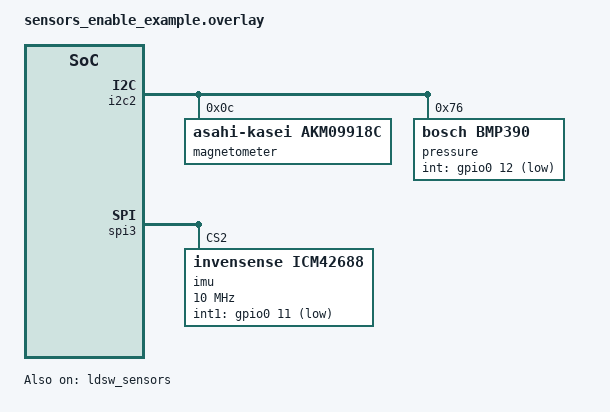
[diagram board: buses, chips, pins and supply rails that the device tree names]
/*
 * Example overlay to add sensors to Kestrel nRF9151 board
 * 
 * This file shows how to add sensor definitions when you have drivers available.
 * Hardware connections:
 * - AK09918C magnetometer: I2C address 0x0c, no interrupt
 * - BMP390 pressure sensor: I2C address 0x76, interrupt on GPIO0.12
 * - ICM-42688-P IMU: SPI reg=<2>, CS on GPIO0.22, interrupt on GPIO0.11
 *
 * Usage: Copy to your app directory and build with:
 *   west build -b kestrel/nrf9151/ns -- -DDTC_OVERLAY_FILE=sensors_enable_example.overlay
 */

/* Add I2C sensors to I2C2 bus */
&i2c2 {
    magnetometer: ak09918c@0c {
        compatible = "asahi-kasei,akm09918c";
        reg = <0x0c>;
        status = "okay";
    };

    pressure: bmp390@76 {
        compatible = "bosch,bmp390";
        reg = <0x76>;
        status = "okay";
        int-gpios = <&gpio0 12 GPIO_ACTIVE_LOW>;
    };
};

/* Add SPI sensor to SPI3 bus */
&spi3 {
    imu: icm42688@2 {
        compatible = "invensense,icm42688";
        reg = <2>;
        spi-max-frequency = <DT_FREQ_M(10)>;
        status = "okay";
        int1-gpios = <&gpio0 11 GPIO_ACTIVE_LOW>;
    };
};

/* Enable sensor power supply */
&ldsw_sensors {
    status = "okay"; 
};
